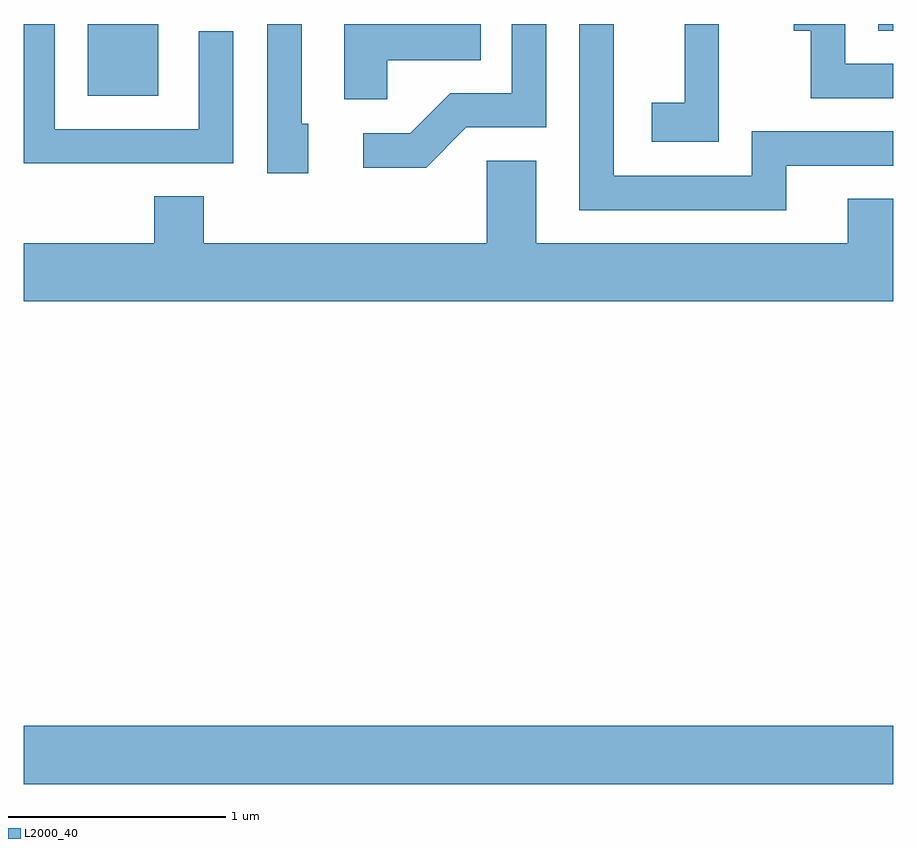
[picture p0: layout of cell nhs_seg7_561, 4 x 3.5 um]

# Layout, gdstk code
import gdstk
lib = gdstk.Library(unit=1e-6, precision=1e-09)
def R(c, l, rs):  # rectangles x0, y0, x1, y1
    for r in rs: c.add(gdstk.rectangle(r[:2], r[2:], *l))
def P(c, l, *ps):  # polygons
    for p in ps: c.add(gdstk.Polygon(p, *l))
L2000_40 = (2000, 40)

nhs_seg7_561 = lib.new_cell('nhs_seg7_561')
R(nhs_seg7_561, L2000_40, [(201.611,1718.756,205.611,1719.024), (201.906,1721.921,202.229,1722.252), (205.541,1722.221,205.611,1722.252)])
P(nhs_seg7_561, L2000_40, [(202.574,1722.218),(202.416,1722.218),(202.416,1721.769),(201.754,1721.769),(201.754,1722.252),(201.611,1722.252),(201.611,1721.611),(202.574,1721.611)],
  [(203.647,1721.776),(204.014,1721.776),(204.014,1722.252),(203.856,1722.252),(203.856,1721.934),(203.574,1721.934),(203.389,1721.749),(203.173,1721.749),(203.173,1721.591),(203.462,1721.591)],
  [(205.611,1722.069),(205.389,1722.069),(205.389,1722.252),(205.153,1722.252),(205.153,1722.221),(205.231,1722.221),(205.231,1721.911),(205.611,1721.911)],
  [(203.284,1722.086),(203.713,1722.086),(203.713,1722.252),(203.086,1722.252),(203.086,1721.906),(203.284,1721.906)],
  [(204.809,1722.252),(204.651,1722.252),(204.651,1721.889),(204.501,1721.889),(204.501,1721.711),(204.809,1721.711)],
  [(202.919,1721.794),(202.889,1721.794),(202.889,1722.252),(202.731,1722.252),(202.731,1721.566),(202.919,1721.566)],
  [(205.119,1721.601),(205.611,1721.601),(205.611,1721.759),(204.961,1721.759),(204.961,1721.554),(204.324,1721.554),(204.324,1722.252),(204.166,1722.252),(204.166,1721.396),(205.119,1721.396)],
  [(205.611,1721.449),(205.401,1721.449),(205.401,1721.244),(203.969,1721.244),(203.969,1721.624),(203.741,1721.624),(203.741,1721.244),(202.439,1721.244),(202.439,1721.459),(202.211,1721.459),(202.211,1721.244),(201.611,1721.244),(201.611,1720.976),(205.611,1720.976)])

lib.write_gds('nhs_seg7_561.gds')
